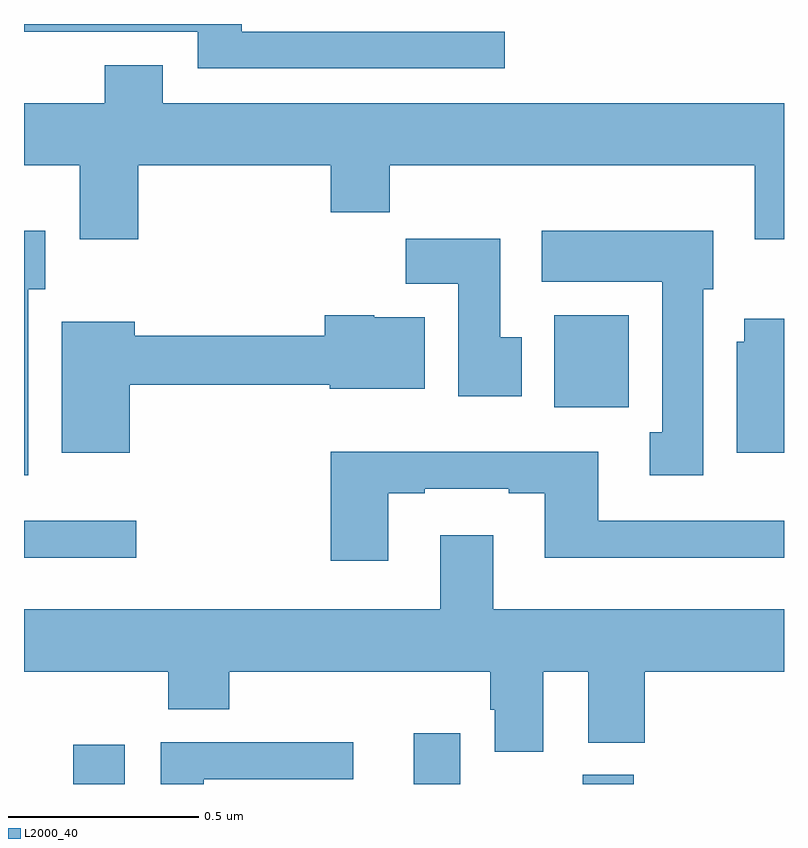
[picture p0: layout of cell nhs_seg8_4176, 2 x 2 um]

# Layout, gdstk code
import gdstk
lib = gdstk.Library(unit=1e-6, precision=1e-09)
def R(c, l, rs):  # rectangles x0, y0, x1, y1
    for r in rs: c.add(gdstk.rectangle(r[:2], r[2:], *l))
def P(c, l, *ps):  # polygons
    for p in ps: c.add(gdstk.Polygon(p, *l))
L2000_40 = (2000, 40)

nhs_seg8_4176 = lib.new_cell('nhs_seg8_4176')
R(nhs_seg8_4176, L2000_40, [(167.129,1086.9,167.265,1087.003), (168.026,1086.9,168.148,1087.033), (168.47,1086.9,168.604,1086.924), (167,1087.496,167.296,1087.593), (168.395,1087.892,168.592,1088.134)])
P(nhs_seg8_4176, L2000_40, [(168.265,1088.88),(167.573,1088.88),(167.573,1088.9),(167,1088.9),(167,1088.88),(167.457,1088.88),(167.457,1088.784),(168.265,1088.784)],
  [(167.3,1088.528),(167.807,1088.528),(167.807,1088.404),(167.963,1088.404),(167.963,1088.528),(168.923,1088.528),(168.923,1088.334),(169,1088.334),(169,1088.692),(167.365,1088.692),(167.365,1088.791),(167.213,1088.791),(167.213,1088.692),(167,1088.692),(167,1088.528),(167.147,1088.528),(167.147,1088.334),(167.3,1088.334)],
  [(168.787,1088.202),(168.814,1088.202),(168.814,1088.356),(168.363,1088.356),(168.363,1088.222),(168.68,1088.222),(168.68,1087.826),(168.647,1087.826),(168.647,1087.713),(168.787,1087.713)],
  [(167.011,1088.202),(167.056,1088.202),(167.056,1088.356),(167,1088.356),(167,1087.713),(167.011,1087.713)],
  [(168.31,1088.076),(168.253,1088.076),(168.253,1088.335),(168.004,1088.335),(168.004,1088.216),(168.143,1088.216),(168.143,1087.92),(168.31,1087.92)],
  [(167.278,1087.951),(167.804,1087.951),(167.804,1087.94),(168.055,1087.94),(168.055,1088.128),(167.922,1088.128),(167.922,1088.134),(167.792,1088.134),(167.792,1088.08),(167.291,1088.08),(167.291,1088.116),(167.099,1088.116),(167.099,1087.772),(167.278,1087.772)],
  [(169,1088.125),(168.896,1088.125),(168.896,1088.064),(168.875,1088.064),(168.875,1087.772),(169,1087.772)],
  [(167.959,1087.665),(168.055,1087.665),(168.055,1087.677),(168.275,1087.677),(168.275,1087.665),(168.371,1087.665),(168.371,1087.496),(169,1087.496),(169,1087.593),(168.511,1087.593),(168.511,1087.774),(167.807,1087.774),(167.807,1087.488),(167.959,1087.488)],
  [(168.367,1087.196),(168.485,1087.196),(168.485,1087.009),(168.633,1087.009),(168.633,1087.196),(169,1087.196),(169,1087.36),(168.235,1087.36),(168.235,1087.555),(168.095,1087.555),(168.095,1087.36),(167,1087.36),(167,1087.196),(167.38,1087.196),(167.38,1087.097),(167.54,1087.097),(167.54,1087.196),(168.227,1087.196),(168.227,1087.095),(168.239,1087.095),(168.239,1086.985),(168.367,1086.985)],
  [(167.473,1086.912),(167.866,1086.912),(167.866,1087.01),(167.36,1087.01),(167.36,1086.9),(167.473,1086.9)])

lib.write_gds('nhs_seg8_4176.gds')
